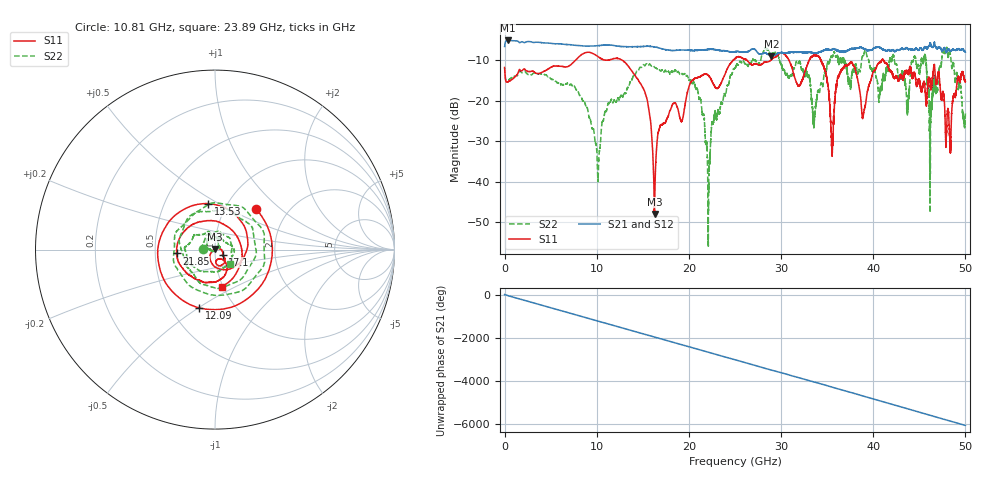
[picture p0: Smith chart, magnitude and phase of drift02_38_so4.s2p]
!Created with skrf (http://scikit-rf.org).
# Hz S RI R 50.0
!freq ReS11 ImS11 ReS21 ImS21 ReS12 ImS12 ReS22 ImS22
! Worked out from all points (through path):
!   10001 points, 300 kHz to 50 GHz, reference 50 ohm
!   highest |S21| = -5.04 dB at 335.3 MHz (marker M1); lowest = -8.9 dB at 28.95 GHz (marker M2)
!   group delay of S21, straight-line fit = 336 ps
!   lowest |S11| = -48.0 dB at 16.27 GHz (marker M3), VSWR 1.01, Z = 49.9 + j0.388 ohm
!   |S11| at or under -10 dB: start of sweep to 7.668 GHz; 12.83 GHz to 24.78 GHz (11.95 GHz wide, 63.6 % of centre); 41.13 GHz to end of sweep (the widest 3 of 11)
!   |S22| runs from -56.0 to -6.7 dB; largest |S21 - S12| = 0.029
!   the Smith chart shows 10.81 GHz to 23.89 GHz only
!   S11 on the Smith chart (normalised r, x): 10.81 GHz: 1.38, +0.70; 12.09 GHz: 0.69, -0.51; 13.53 GHz: 0.82, +0.45; 17.1 GHz: 1.09, -0.06; 21.85 GHz: 0.65, -0.03; 23.89 GHz: 0.98, -0.43
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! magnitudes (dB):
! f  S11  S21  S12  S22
! 300 kHz  -11.7  -6.5  -6.5  -11.7
! 335.3 MHz  -15.3  -5.0  -5.0  -15.1
! 8.335 GHz  -8.6  -6.4  -6.4  -19.1
! 10.11 GHz  -9.0  -6.3  -6.3  -38.7
! 10.81 GHz  -9.8  -6.2  -6.2  -23.7
! 12.09 GHz  -9.5  -6.4  -6.4  -20.4
! 13.53 GHz  -11.7  -6.6  -6.6  -16.0
! 16.27 GHz  -48.0  -6.7  -6.6  -11.7
! 16.67 GHz  -27.7  -6.8  -6.8  -12.2
! 17.1 GHz  -25.9  -7.1  -7.1  -12.4
! 21.85 GHz  -13.4  -7.3  -7.3  -30.0
! 23.89 GHz  -13.5  -7.6  -7.6  -18.5
! 25 GHz  -9.5  -7.8  -7.9  -11.9
! 28.95 GHz  -9.8  -8.9  -8.9  -8.0
! 33.34 GHz  -9.1  -8.0  -8.0  -19.9
! 35.54 GHz  -32.6  -7.3  -7.3  -9.0
! 36.77 GHz  -12.0  -7.9  -8.3  -9.0
! 41.67 GHz  -11.9  -7.4  -7.5  -12.0
! 45.5 GHz  -15.2  -7.0  -6.9  -9.5
! 46.24 GHz  -16.7  -5.9  -6.0  -20.8
! 48.12 GHz  -22.6  -7.2  -7.1  -9.0
! 50 GHz  -15.2  -7.9  -7.9  -23.1
